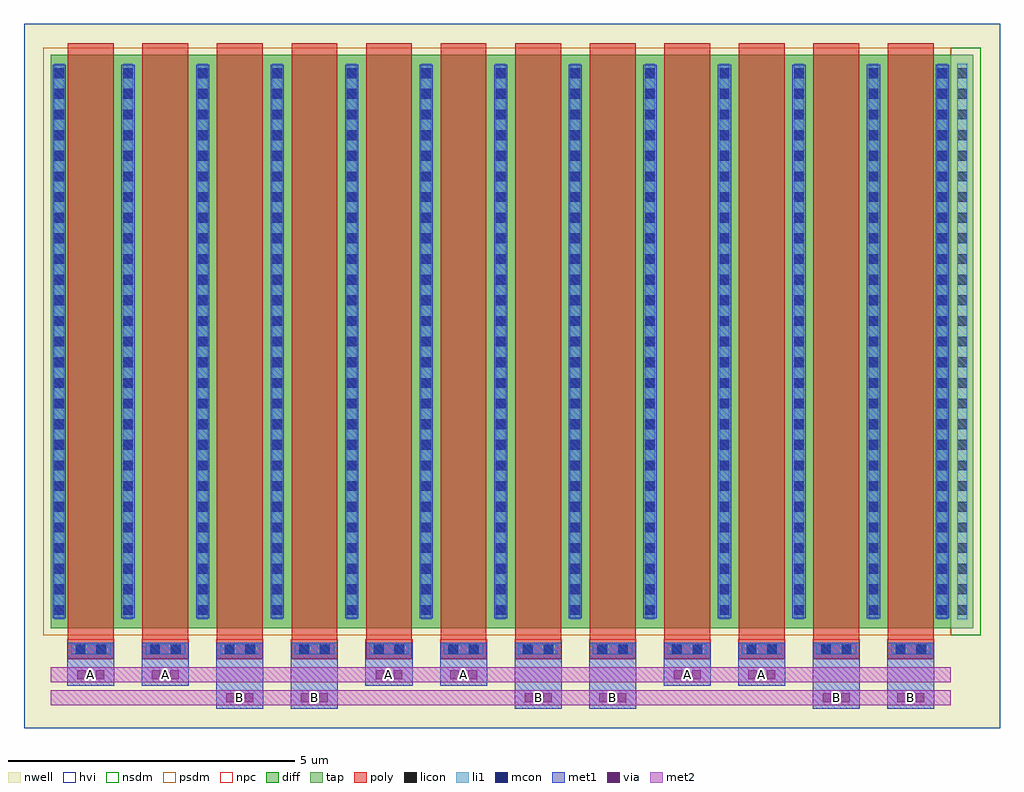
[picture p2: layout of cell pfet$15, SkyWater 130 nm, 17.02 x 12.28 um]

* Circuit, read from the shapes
.subckt pfet$15 A B
XM1 n1 A n2 n3 sky130_fd_pr__pfet_g5v0d10v5 w=10 l=0.8
XM2 n4 A n1 n3 sky130_fd_pr__pfet_g5v0d10v5 w=10 l=0.8
XM3 n5 B n4 n3 sky130_fd_pr__pfet_g5v0d10v5 w=10 l=0.8
XM4 n6 B n5 n3 sky130_fd_pr__pfet_g5v0d10v5 w=10 l=0.8
XM5 n7 A n6 n3 sky130_fd_pr__pfet_g5v0d10v5 w=10 l=0.8
XM6 n8 A n7 n3 sky130_fd_pr__pfet_g5v0d10v5 w=10 l=0.8
XM7 n9 B n8 n3 sky130_fd_pr__pfet_g5v0d10v5 w=10 l=0.8
XM8 n10 B n9 n3 sky130_fd_pr__pfet_g5v0d10v5 w=10 l=0.8
XM9 n11 A n10 n3 sky130_fd_pr__pfet_g5v0d10v5 w=10 l=0.8
XM10 n12 A n11 n3 sky130_fd_pr__pfet_g5v0d10v5 w=10 l=0.8
XM11 n13 B n12 n3 sky130_fd_pr__pfet_g5v0d10v5 w=10 l=0.8
XM12 n3 B n13 n3 sky130_fd_pr__pfet_g5v0d10v5 w=10 l=0.8
.ends

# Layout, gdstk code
import gdstk
lib = gdstk.Library(unit=1e-6, precision=1e-09)
def R(c, l, rs):  # rectangles x0, y0, x1, y1
    for r in rs: c.add(gdstk.rectangle(r[:2], r[2:], *l))
def A(c, l, x, y, w, h, nx, ny, dx, dy):  # array of equal rectangles
    R(c, l, [(x+i*dx, y+j*dy, x+i*dx+w, y+j*dy+h) for i in range(nx) for j in range(ny)])
nwell = (64, 20)
diff = (65, 20)
tap = (65, 44)
poly = (66, 20)
licon = (66, 44)
li1 = (67, 20)
mcon = (67, 44)
met1 = (68, 20)
via = (68, 44)
met2 = (69, 20)
hvi = (75, 20)
nsdm = (93, 44)
psdm = (94, 20)
npc = (95, 20)

pfet_15 = lib.new_cell('pfet$15')
R(pfet_15, nwell, [(-0.465,-1.74,16.555,10.54)])
R(pfet_15, diff, [(0,0,15.7,10)])
R(pfet_15, tap, [(15.7,0,16.09,10)])
A(pfet_15, poly, 0.3, -0.53, 0.8, 0.33, 12, 1, 1.3, 0)
A(pfet_15, poly, 0.3, -0.2, 0.8, 10.4, 12, 1, 1.3, 0)
A(pfet_15, licon, 0.065, 0.235, 0.17, 0.17, 1, 27, 0, 0.36)
A(pfet_15, licon, 1.265, 0.235, 0.17, 0.17, 11, 27, 1.3, 0.36)
A(pfet_15, licon, 15.465, 0.235, 0.17, 0.17, 1, 27, 0, 0.36)
A(pfet_15, licon, 15.81, 0.235, 0.17, 0.17, 1, 27, 0, 0.36)
R(pfet_15, licon, [(0.435,-0.45,0.605,-0.28), (0.795,-0.45,0.965,-0.28), (1.735,-0.45,1.905,-0.28), (2.095,-0.45,2.265,-0.28), (3.035,-0.45,3.205,-0.28), (3.395,-0.45,3.565,-0.28), (4.335,-0.45,4.505,-0.28), (4.695,-0.45,4.865,-0.28), (5.635,-0.45,5.805,-0.28), (5.995,-0.45,6.165,-0.28), (6.935,-0.45,7.105,-0.28), (7.295,-0.45,7.465,-0.28), (8.235,-0.45,8.405,-0.28), (8.595,-0.45,8.765,-0.28), (9.535,-0.45,9.705,-0.28), (9.895,-0.45,10.065,-0.28), (10.835,-0.45,11.005,-0.28), (11.195,-0.45,11.365,-0.28), (12.135,-0.45,12.305,-0.28), (12.495,-0.45,12.665,-0.28), (13.435,-0.45,13.605,-0.28), (13.795,-0.45,13.965,-0.28), (14.735,-0.45,14.905,-0.28), (15.095,-0.45,15.265,-0.28)])
A(pfet_15, li1, 0.355, -0.45, 0.69, 0.17, 12, 1, 1.3, 0)
A(pfet_15, li1, 1.265, 0.155, 0.17, 9.69, 11, 1, 1.3, 0)
R(pfet_15, li1, [(0.065,0.155,0.235,9.845), (15.465,0.155,15.635,9.845), (15.81,0.155,15.98,9.845)])
A(pfet_15, mcon, 0.065, 0.235, 0.17, 0.17, 1, 27, 0, 0.36)
A(pfet_15, mcon, 1.265, 0.235, 0.17, 0.17, 11, 27, 1.3, 0.36)
A(pfet_15, mcon, 15.465, 0.235, 0.17, 0.17, 1, 27, 0, 0.36)
R(pfet_15, mcon, [(0.435,-0.45,0.605,-0.28), (0.795,-0.45,0.965,-0.28), (1.735,-0.45,1.905,-0.28), (2.095,-0.45,2.265,-0.28), (3.035,-0.45,3.205,-0.28), (3.395,-0.45,3.565,-0.28), (4.335,-0.45,4.505,-0.28), (4.695,-0.45,4.865,-0.28), (5.635,-0.45,5.805,-0.28), (5.995,-0.45,6.165,-0.28), (6.935,-0.45,7.105,-0.28), (7.295,-0.45,7.465,-0.28), (8.235,-0.45,8.405,-0.28), (8.595,-0.45,8.765,-0.28), (9.535,-0.45,9.705,-0.28), (9.895,-0.45,10.065,-0.28), (10.835,-0.45,11.005,-0.28), (11.195,-0.45,11.365,-0.28), (12.135,-0.45,12.305,-0.28), (12.495,-0.45,12.665,-0.28), (13.435,-0.45,13.605,-0.28), (13.795,-0.45,13.965,-0.28), (14.735,-0.45,14.905,-0.28), (15.095,-0.45,15.265,-0.28)])
A(pfet_15, met1, 0.375, -0.48, 0.65, 0.23, 12, 1, 1.3, 0)
A(pfet_15, met1, 1.235, 0.175, 0.23, 9.65, 11, 1, 1.3, 0)
R(pfet_15, met1, [(2.89,-1.4,3.71,-0.25), (4.19,-1.4,5.01,-0.25), (8.09,-1.4,8.91,-0.25), (9.39,-1.4,10.21,-0.25), (13.29,-1.4,14.11,-0.25), (14.59,-1.4,15.41,-0.25), (0.29,-1,1.11,-0.25), (1.59,-1,2.41,-0.25), (5.49,-1,6.31,-0.25), (6.79,-1,7.61,-0.25), (10.69,-1,11.51,-0.25), (11.99,-1,12.81,-0.25), (0.035,0.175,0.265,9.825), (15.435,0.175,15.665,9.825)])
R(pfet_15, via, [(3.065,-1.285,3.215,-1.135), (3.385,-1.285,3.535,-1.135), (4.365,-1.285,4.515,-1.135), (4.685,-1.285,4.835,-1.135), (8.265,-1.285,8.415,-1.135), (8.585,-1.285,8.735,-1.135), (9.565,-1.285,9.715,-1.135), (9.885,-1.285,10.035,-1.135), (13.465,-1.285,13.615,-1.135), (13.785,-1.285,13.935,-1.135), (14.765,-1.285,14.915,-1.135), (15.085,-1.285,15.235,-1.135), (0.465,-0.885,0.615,-0.735), (0.785,-0.885,0.935,-0.735), (1.765,-0.885,1.915,-0.735), (2.085,-0.885,2.235,-0.735), (5.665,-0.885,5.815,-0.735), (5.985,-0.885,6.135,-0.735), (6.965,-0.885,7.115,-0.735), (7.285,-0.885,7.435,-0.735), (10.865,-0.885,11.015,-0.735), (11.185,-0.885,11.335,-0.735), (12.165,-0.885,12.315,-0.735), (12.485,-0.885,12.635,-0.735)])
R(pfet_15, met2, [(0,-1.34,15.7,-1.08), (0,-0.94,15.7,-0.68)])
R(pfet_15, hvi, [(-0.465,-1.74,16.555,10.54)])
R(pfet_15, nsdm, [(15.7,-0.125,16.215,10.125)])
R(pfet_15, psdm, [(-0.125,-0.125,15.7,10.125)])
A(pfet_15, npc, 0.29, -0.54, 0.82, 0.35, 12, 1, 1.3, 0)
pfet_15.add(gdstk.Label('A', (0.7,-0.81), layer=68, texttype=5))
pfet_15.add(gdstk.Label('A', (2,-0.81), layer=68, texttype=5))
pfet_15.add(gdstk.Label('A', (5.9,-0.81), layer=68, texttype=5))
pfet_15.add(gdstk.Label('A', (7.2,-0.81), layer=68, texttype=5))
pfet_15.add(gdstk.Label('A', (11.1,-0.81), layer=68, texttype=5))
pfet_15.add(gdstk.Label('A', (12.4,-0.81), layer=68, texttype=5))
pfet_15.add(gdstk.Label('B', (3.3,-1.21), layer=68, texttype=5))
pfet_15.add(gdstk.Label('B', (4.6,-1.21), layer=68, texttype=5))
pfet_15.add(gdstk.Label('B', (8.5,-1.21), layer=68, texttype=5))
pfet_15.add(gdstk.Label('B', (9.8,-1.21), layer=68, texttype=5))
pfet_15.add(gdstk.Label('B', (13.7,-1.21), layer=68, texttype=5))
pfet_15.add(gdstk.Label('B', (15,-1.21), layer=68, texttype=5))

lib.write_gds('pfet_15.gds')
